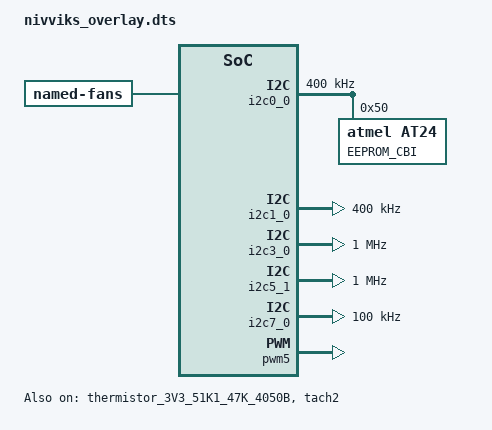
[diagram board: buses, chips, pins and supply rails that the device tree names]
/* Copyright 2021 The Chromium OS Authors. All rights reserved.
 * Use of this source code is governed by a BSD-style license that can be
 * found in the LICENSE file.
 */

#include <cros/thermistor/thermistor.dtsi>

/ {
	aliases {
		gpio-cbi-wp = &gpio_ec_cbi_wp;
		gpio-wp = &gpio_ec_wp_odl;
		int-wp = &int_wp_l;
		gpio-kbd-kso2 = &gpio_ec_kso_02_inv;
	};

	batteries {
		default_battery: lgc {
			compatible = "lgc,ap18c8k", "battery-smart";
		};
	};

	hibernate-wake-pins {
		compatible = "cros-ec,hibernate-wake-pins";
		wakeup-irqs = <
			&int_power_button
			&int_lid_open
		>;
	};

	gpio-interrupts {
		compatible = "cros-ec,gpio-interrupts";

		int_power_button: power_button {
			irq-pin = <&gpio_gsc_ec_pwr_btn_odl>;
			flags = <GPIO_INT_EDGE_BOTH>;
			handler = "power_button_interrupt";
		};
		int_wp_l: wp_l {
			irq-pin = <&gpio_ec_wp_odl>;
			flags = <GPIO_INT_EDGE_BOTH>;
			handler = "switch_interrupt";
		};
		int_lid_open: lid_open {
			irq-pin = <&gpio_lid_open>;
			flags = <GPIO_INT_EDGE_BOTH>;
			handler = "lid_interrupt";
		};
		int_tablet_mode: tablet_mode {
			irq-pin = <&gpio_tablet_mode_l>;
			flags = <GPIO_INT_EDGE_BOTH>;
			handler = "gmr_tablet_switch_isr";
		};
		int_imu: ec_imu {
			irq-pin = <&gpio_imu_int_l>;
			flags = <GPIO_INT_EDGE_FALLING>;
			handler = "lsm6dso_interrupt";
		};
		int_vol_down: vol_down {
			irq-pin = <&gpio_voldn_btn_odl>;
			flags = <GPIO_INT_EDGE_BOTH>;
			handler = "button_interrupt";
		};
		int_vol_up: vol_up {
			irq-pin = <&gpio_volup_btn_odl>;
			flags = <GPIO_INT_EDGE_BOTH>;
			handler = "button_interrupt";
		};
		int_usb_c0: usb_c0 {
			irq-pin = <&gpio_usb_c0_int_odl>;
			flags = <GPIO_INT_EDGE_FALLING>;
			handler = "usb_interrupt";
		};
		int_usb_c1: usb_c1 {
			irq-pin = <&gpio_sb_1>;
			flags = <GPIO_INT_EDGE_FALLING>;
			handler = "usb_interrupt";
		};
		int_prochot: ap_prochot {
			irq-pin = <&gpio_ec_prochot_odl>;
			flags = <GPIO_INT_EDGE_BOTH>;
			handler = "throttle_ap_prochot_input_interrupt";
		};
	};

	named-gpios {
		gpio_sb_1: sb_1 {
			gpios = <&gpio0 2 GPIO_PULL_UP>;
			no-auto-init;
		};

		gpio_sb_2: sb_2 {
			gpios = <&gpiod 4 GPIO_OUTPUT>;
			no-auto-init;
		};

		gpio_sb_3: sb_3 {
			gpios = <&gpiof 4 GPIO_OPEN_DRAIN>;
			no-auto-init;
		};
		gpio_sb_4: sb_4 {
			gpios = <&gpiof 5 GPIO_INPUT>;
			no-auto-init;
		};
		gpio_fan_enable: fan-enable {
			gpios = <&gpio6 3 GPIO_OUTPUT>;
			no-auto-init;
		};
	};

	/*
	 * Aliases used for sub-board GPIOs.
	 */
	aliases {
		/*
		 * Input GPIO when used with type-C port 1
		 * Output when used with HDMI sub-board
		 */
		gpio-usb-c1-int-odl = &gpio_sb_1;
		gpio-en-rails-odl = &gpio_sb_1;
		/*
		 * Sub-board with type A USB, enable.
		 */
		gpio-en-usb-a1-vbus = &gpio_sb_2;
		/*
		 * HPD pins for HDMI sub-board.
		 */
		gpio-hdmi-en-odl = &gpio_sb_3;
		gpio-hpd-odl = &gpio_sb_4;
		/*
		 * Enable S5 rails for LTE sub-board
		 */
		gpio-en-sub-s5-rails = &gpio_sb_2;
	};

	named-temp-sensors {
		memory {
			compatible = "cros-ec,temp-sensor-thermistor",
				     "cros-ec,temp-sensor";
			thermistor = <&thermistor_3V3_51K1_47K_4050B>;
			label = "DDR and SOC";
			enum-name = "TEMP_SENSOR_1";
			temp_fan_off = <35>;
			temp_fan_max = <60>;
			temp_host_high = <85>;
			temp_host_halt = <90>;
			temp_host_release_high = <80>;
			adc = <&adc_temp_sensor_1>;
		};
		charger {
			compatible = "cros-ec,temp-sensor-thermistor",
				     "cros-ec,temp-sensor";
			thermistor = <&thermistor_3V3_51K1_47K_4050B>;
			label = "Charger";
			enum-name = "TEMP_SENSOR_2";
			temp_fan_off = <35>;
			temp_fan_max = <60>;
			temp_host_high = <85>;
			temp_host_halt = <90>;
			temp_host_release_high = <80>;
			adc = <&adc_temp_sensor_2>;
		};
	};

	usba {
		compatible = "cros-ec,usba-port-enable-pins";
		/*
		 * sb_2 is only configured as GPIO when USB-A1 is present,
		 * but it's still safe to control when disabled.
		 *
		 * ILIM_SEL pins are referred to by legacy enum name,
		 * GPIO_USB*_ILIM_SEL. The one for port A1 is unused on
		 * sub-boards that don't have USB-A so is safe to control
		 * regardless of system configuration.
		 */
		enable-pins = <&gpio_en_usb_a0_vbus &gpio_sb_2>;
		status = "okay";
	};

	usbc {
		#address-cells = <1>;
		#size-cells = <0>;

		port0@0 {
			compatible = "named-usbc-port";
			reg = <0>;
			bc12 {
				compatible = "pericom,pi3usb9201";
				port = <&i2c_ec_i2c_usb_c0>;
				/*
				 * BC1.2 interrupt is shared with TCPC, so
				 * IRQ is not specified here and handled by
				 * usb_c0_interrupt.
				 */
			};
		};
		/*
		 * TODO(b:211693800): port1 may not be present on some
		 * sub-boards.
		 */
		port1@1 {
			compatible = "named-usbc-port";
			reg = <1>;
			bc12 {
				compatible = "pericom,pi3usb9201";
				port = <&i2c_ec_i2c_sub_usb_c1>;
			};
		};
	};

	named-fans {
		compatible = "named-fans";

		fan_0 {
			label = "FAN_0";
			pwms = <&pwm5 5 PWM_POLARITY_NORMAL>;
			pwm-frequency = <1000>;
			rpm_min = <2200>;
			rpm_start = <2200>;
			rpm_max = <4200>;
			tach = <&tach2>;
			enable_gpio = <&gpio_fan_enable>;
		};
	};

	/*
	 * Set I2C pins for type C sub-board to be
	 * low voltage (I2C5_1).
	 * We do this for all boards, since the pins are
	 * 3.3V tolerant, and the only 2 types of sub-boards
	 * used on nivviks both have type-C ports on them.
	 */
	 def-lvol-io-list {
		compatible = "nuvoton,npcx-lvolctrl-def";
		lvol-io-pads = <&lvol_iof5 &lvol_iof4>;
	 };
};

&thermistor_3V3_51K1_47K_4050B {
	status = "okay";
};

&adc_ec_vsense_pp3300_s5 {
	/*
	 * Voltage divider on input has 47k upper and 220k lower legs with
	 * 2714 mV full-scale reading on the ADC. Apply the largest possible
	 * multiplier (without overflowing int32) to get the best possible
	 * approximation of the actual ratio, but derate by a factor of two to
	 * ensure unexpectedly high values won't overflow.
	 */
	mul = <(791261 / 2)>;
	div = <(651975 / 2)>;
};

/* Set bus speeds for I2C */
&i2c0_0 {
	label = "I2C_EEPROM";
	clock-frequency = <I2C_BITRATE_FAST>;

	cbi_eeprom: eeprom@50 {
		compatible = "atmel,at24";
		reg = <0x50>;
		label = "EEPROM_CBI";
		size = <2048>;
		pagesize = <16>;
		address-width = <8>;
		timeout = <5>;
	};
};

&i2c1_0 {
	label = "I2C_SENSOR";
	clock-frequency = <I2C_BITRATE_FAST>;
};

&i2c3_0 {
	label = "I2C_USB_C0_TCPC";
	clock-frequency = <I2C_BITRATE_FAST_PLUS>;
};

&i2c5_1 {
	label = "I2C_SUB_C1_TCPC";
	clock-frequency = <I2C_BITRATE_FAST_PLUS>;
};

&i2c7_0 {
	label = "I2C_BATTERY";
	clock-frequency = <I2C_BITRATE_STANDARD>;
};

/* PWM frequencies */

&pwm_pwm_kb_bl {
	frequency = <10000>;
};

&pwm_pwm_led_1_odl {
	frequency = <324>;
};

&pwm_pwm_led_2_odl {
	frequency = <324>;
};

&pwm_pwm_led_3_odl {
	frequency = <324>;
};

/* Enable LEDs to work while CPU suspended */
&pwm0 {
	clock-bus = "NPCX_CLOCK_BUS_LFCLK";
};

&pwm1 {
	clock-bus = "NPCX_CLOCK_BUS_LFCLK";
};

&pwm2 {
	clock-bus = "NPCX_CLOCK_BUS_LFCLK";
};

&pwm5 {
	status = "okay";
	drive-open-drain;
};

/* Tachometer for fan speed measurement */
&tach2 {
	status = "okay";
	pinctrl-0 = <&alt3_ta2_sl1>; /* Use TA2 as input pin */
	port = <NPCX_TACH_PORT_A>; /* port-A is selected */
	sample-clk = <NPCX_TACH_FREQ_LFCLK>; /* Use LFCLK as sampling clock */
	pulses-per-round = <2>; /* number of pulses per round of encoder */
};
